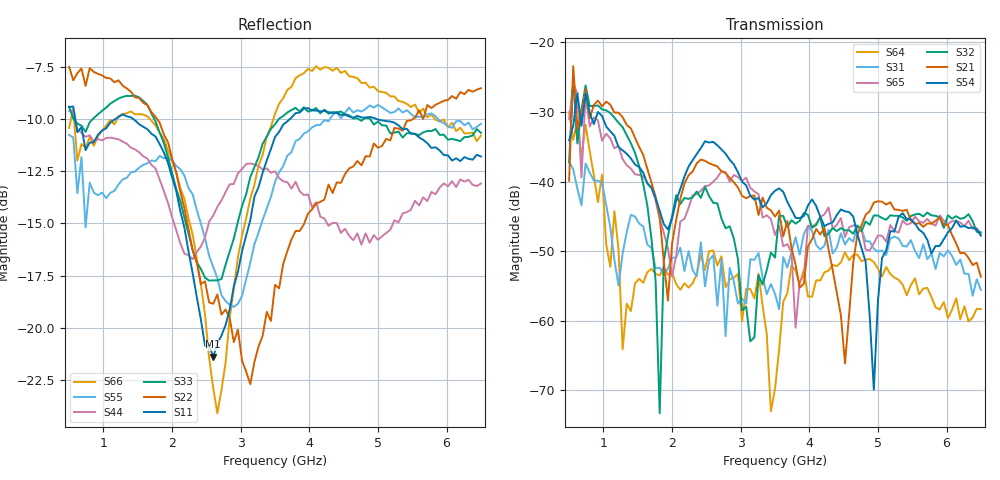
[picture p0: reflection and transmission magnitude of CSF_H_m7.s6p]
!Keysight Technologies,M9804A,MY58100912,A.14.10.03
!Date: Thursday, April 27, 2023 10:28:33
!Correction: S11(C  6-Port  )
!S12(C  6-Port  )
!S13(C  6-Port  )
!S14(C  6-Port  )
!S15(C  6-Port  )
!S16(C  6-Port  )
!S21(C  6-Port  )
!S22(C  6-Port  )
!S23(C  6-Port  )
!S24(C  6-Port  )
!S25(C  6-Port  )
!S26(C  6-Port  )
!S31(C  6-Port  )
!S32(C  6-Port  )
!S33(C  6-Port  )
!S34(C  6-Port  )
!S35(C  6-Port  )
!S36(C  6-Port  )
!S41(C  6-Port  )
!S42(C  6-Port  )
!S43(C  6-Port  )
!S44(C  6-Port  )
!S45(C  6-Port  )
!S46(C  6-Port  )
!S51(C  6-Port  )
!S52(C  6-Port  )
!S53(C  6-Port  )
!S54(C  6-Port  )
!S55(C  6-Port  )
!S56(C  6-Port  )
!S61(C  6-Port  )
!S62(C  6-Port  )
!S63(C  6-Port  )
!S64(C  6-Port  )
!S65(C  6-Port  )
!S66(C  6-Port  )
!S6P File: Measurement: :
# Hz S  RI  R 50
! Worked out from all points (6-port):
!   101 points, 500 MHz to 6.5 GHz, reference 50 ohm
!   strongest paths, dB at 500 MHz, 2 GHz, 3.5 GHz, 5 GHz, 6.5 GHz:
!     S54: -34.1, -45.3, -41.3, -57.1, -47.8
!     S21: -39.9, -48.9, -45.0, -42.8, -53.7
!     S32: -37.2, -45.0, -50.9, -44.9, -47.3
!     S65: -31.0, -53.6, -47.7, -47.7, -47.5
!     S31: -37.1, -51.0, -56.1, -50.0, -55.6
!     S64: -30.0, -53.1, -69.8, -52.5, -58.3
!   lowest |S11| = -21.4 dB at 2.6 GHz (marker M1), VSWR 1.19, Z = 42.4 + j2.2 ohm
!   |S11| at or under -10 dB: 589.6 MHz to 1.17 GHz (580.8 MHz wide, 66 % of centre); 1.437 GHz to 3.715 GHz (2.278 GHz wide, 88.4 % of centre); 4.985 GHz to end of sweep
